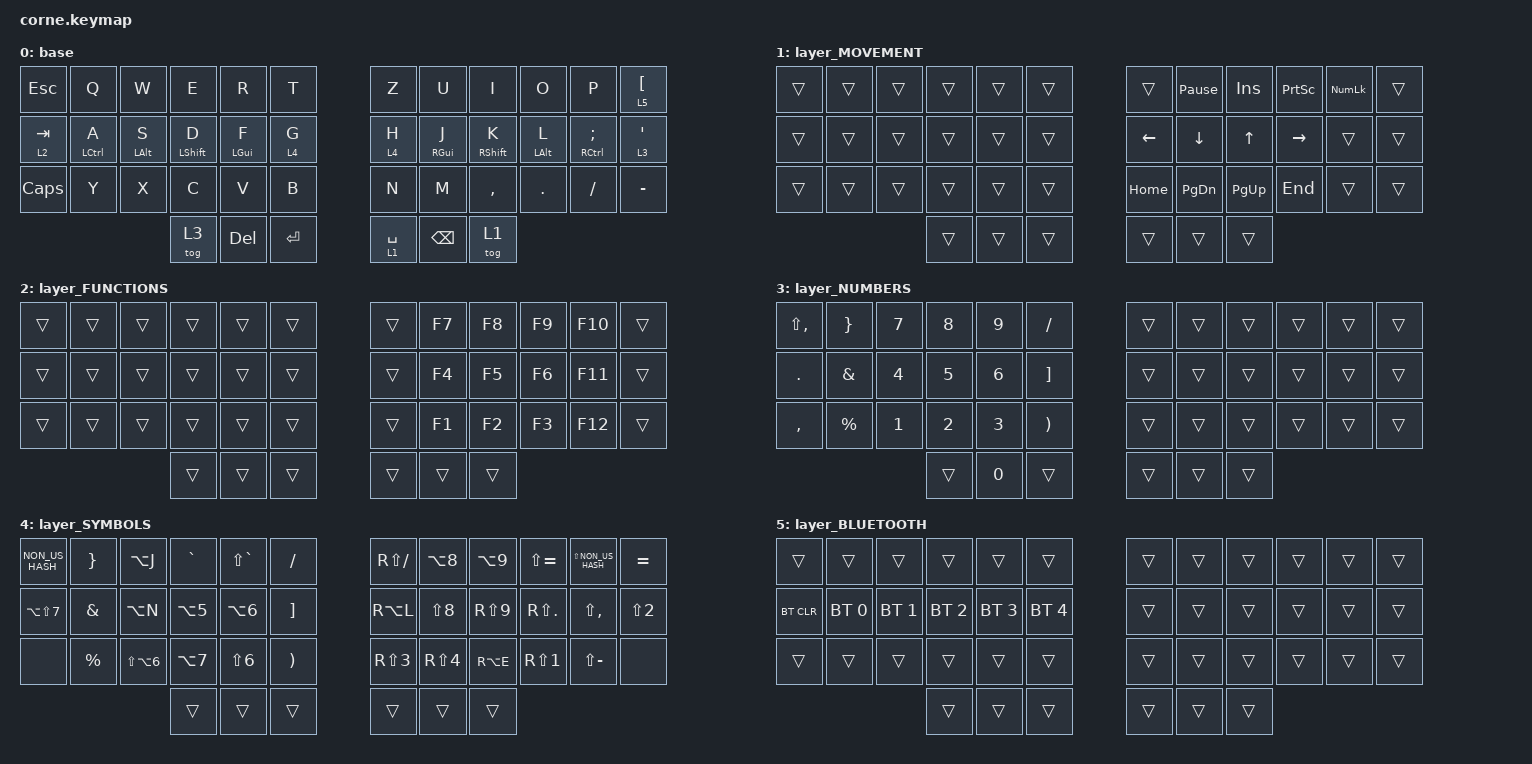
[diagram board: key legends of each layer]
/*
 * Copyright (c) 2020 The ZMK Contributors
 *
 * SPDX-License-Identifier: MIT
 */

#include <behaviors.dtsi>
#include <dt-bindings/zmk/bt.h>
#include <dt-bindings/zmk/keys.h>

/ {
    behaviors {
        hm: homerow_mods {
            compatible = "zmk,behavior-hold-tap";
            label = "HOMEROW_MODS";
            #binding-cells = <2>;
            tapping-term-ms = <150>;
            quick_tap_ms = <0>;
            flavor = "tap-preferred";
            bindings =
                <&kp>,
                <&kp>;
        };
    };

    keymap {
        compatible = "zmk,keymap";

        base {
            bindings = <
&kp ESC       &kp Q               &kp W       &kp E         &kp R       &kp T        &kp Z        &kp U            &kp I         &kp O       &kp P           &lt 5 LEFT_BRACKET
&lt 2 TAB     &hm LEFT_CONTROL A  &hm LALT S  &hm LSHIFT D  &hm LGUI F  &lt 4 G      &lt 4 H      &hm RIGHT_GUI J  &hm RSHIFT K  &hm LALT L  &hm RCTRL SEMI  &lt 3 SQT
&kp CAPSLOCK  &kp Y               &kp X       &kp C         &kp V       &kp B        &kp N        &kp M            &kp COMMA     &kp DOT     &kp FSLH        &kp MINUS
                                              &tog 3        &kp DELETE  &kp ENTER    &lt 1 SPACE  &kp BACKSPACE    &tog 1
            >;
        };

        layer_MOVEMENT {
            bindings = <
&trans  &trans  &trans  &trans  &trans  &trans    &trans    &kp PAUSE_BREAK  &kp INSERT   &kp PRINTSCREEN  &kp KP_NUMLOCK  &trans
&trans  &trans  &trans  &trans  &trans  &trans    &kp LEFT  &kp DOWN         &kp UP       &kp RIGHT        &trans          &trans
&trans  &trans  &trans  &trans  &trans  &trans    &kp HOME  &kp PAGE_DOWN    &kp PAGE_UP  &kp END          &trans          &trans
                        &trans  &trans  &trans    &trans    &trans           &trans
            >;
        };

        layer_FUNCTIONS {
            bindings = <
&trans  &trans  &trans  &trans  &trans  &trans    &trans  &kp F7  &kp F8  &kp F9  &kp F10  &trans
&trans  &trans  &trans  &trans  &trans  &trans    &trans  &kp F4  &kp F5  &kp F6  &kp F11  &trans
&trans  &trans  &trans  &trans  &trans  &trans    &trans  &kp F1  &kp F2  &kp F3  &kp F12  &trans
                        &trans  &trans  &trans    &trans  &trans  &trans
            >;
        };

        layer_NUMBERS {
            bindings = <
&kp LS(COMMA)  &kp RBRC     &kp NUMBER_7  &kp NUMBER_8  &kp NUMBER_9  &kp SLASH    &trans  &trans  &trans  &trans  &trans  &trans
&kp DOT        &kp AMPS     &kp NUMBER_4  &kp NUMBER_5  &kp NUMBER_6  &kp RBKT     &trans  &trans  &trans  &trans  &trans  &trans
&kp COMMA      &kp PERCENT  &kp NUMBER_1  &kp NUMBER_2  &kp NUMBER_3  &kp RPAR     &trans  &trans  &trans  &trans  &trans  &trans
                                          &trans        &kp NUMBER_0  &trans       &trans  &trans  &trans
            >;
        };

        layer_SYMBOLS {
            bindings = <
&kp NON_US_HASH  &kp RBRC     &kp LA(J)             &kp GRAVE         &kp LS(GRAVE)     &kp SLASH    &kp RS(SLASH)     &kp LA(NUMBER_8)  &kp LA(NUMBER_9)  &kp LS(EQUAL)     &kp LS(NON_US_HASH)  &kp EQUAL
&kp LA(LS(N7))   &kp AMPS     &kp LA(N)             &kp LA(NUMBER_5)  &kp LA(NUMBER_6)  &kp RBKT     &kp RA(L)         &kp LS(NUMBER_8)  &kp RS(NUMBER_9)  &kp RS(DOT)       &kp LS(COMMA)        &kp LS(NUMBER_2)
&none            &kp PERCENT  &kp LS(LA(NUMBER_6))  &kp LA(NUMBER_7)  &kp LS(NUMBER_6)  &kp RPAR     &kp RS(NUMBER_3)  &kp RS(NUMBER_4)  &kp RA(E)         &kp RS(NUMBER_1)  &kp LS(MINUS)        &none
                                                    &trans            &trans            &trans       &trans            &trans            &trans
            >;
        };

        layer_BLUETOOTH {
            bindings = <
&trans      &trans        &trans        &trans        &trans        &trans          &trans  &trans  &trans  &trans  &trans  &trans
&bt BT_CLR  &bt BT_SEL 0  &bt BT_SEL 1  &bt BT_SEL 2  &bt BT_SEL 3  &bt BT_SEL 4    &trans  &trans  &trans  &trans  &trans  &trans
&trans      &trans        &trans        &trans        &trans        &trans          &trans  &trans  &trans  &trans  &trans  &trans
                                        &trans        &trans        &trans          &trans  &trans  &trans
            >;
        };
    };
};
